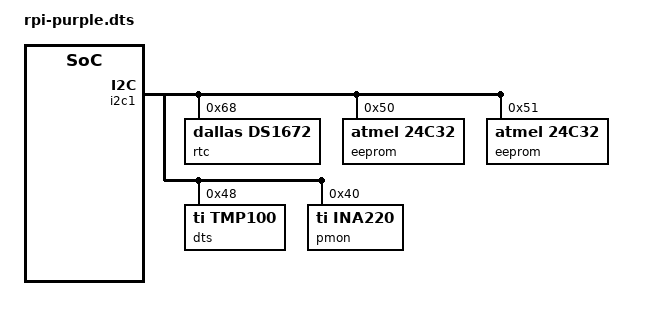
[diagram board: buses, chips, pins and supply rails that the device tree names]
/* Extra stuff that's present on the RPI-B/RPI2 'purple' board. */
#include "rpi.dts"

&i2c1 {

	rtc@68 {
		compatible = "dallas,ds1672";
		reg = <0x68>;
	};

	eeprom@50 {
		compatible = "atmel,24c32";
		reg = <0x50>;
		pagesize = <32>;
	};

	eeprom@51 {
		compatible = "atmel,24c32";
		reg = <0x51>;
		pagesize = <32>;
	};

	dts@48 {
		compatible = "ti,tmp100";
		reg = <0x48>;
	};

	pmon@40 {
		compatible = "ti,ina220";
		reg = <0x40>;
		cal = <2048>;
		cfg = <8607>;
	};


};

/* override activitity LED, B+ uses pin47 with active HI logic. This pin is
 * marked as read-only in the rpi.dts override and bcm2835 file. */
/*
&ledact {
	gpios = <&gpio 47 GPIO_ACTIVE_HIGH>;
	default-state = "on";
}
*/

/* remove the led output from the list but leave the rest. This is accurate for RPI1 B+ */
&gpio {
	broadcom,read-only = <46>, <48>, <49>, <50>, <51>, <52>, <53>;
}
